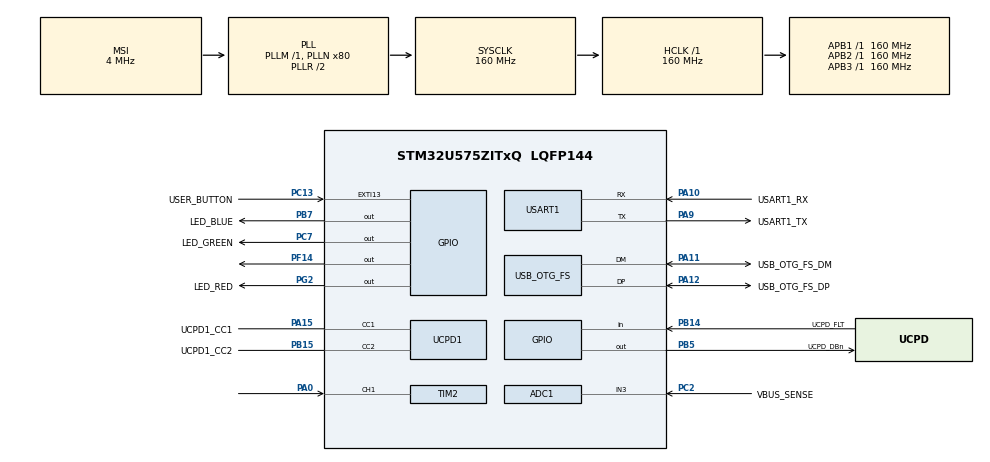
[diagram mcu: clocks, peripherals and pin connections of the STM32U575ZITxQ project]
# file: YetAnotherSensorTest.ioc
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ADC1.NbrOfConversion=1
ADC1.Resolution=ADC_RESOLUTION_14B
ADC1.master=1
CORTEX_M33_NS.userName=CORTEX_M33
Mcu.Family=STM32U5
Mcu.Name=STM32U575ZITxQ
Mcu.Package=LQFP144
NVIC.OTG_FS_IRQn=true\:0\:0\:false\:false\:true\:true\:true\:true
NVIC.PriorityGroup=NVIC_PRIORITYGROUP_3
PA0.Signal=S_TIM2_CH1
PA10.GPIO_Label=USART1_RX
PA10.GPIO_PuPd=GPIO_PULLDOWN
PA10.GPIO_Speed=GPIO_SPEED_FREQ_VERY_HIGH
PA10.Mode=Asynchronous
PA10.Signal=USART1_RX
PA11.GPIO_Label=USB_OTG_FS_DM
PA11.GPIO_Speed=GPIO_SPEED_FREQ_VERY_HIGH
PA11.Mode=Device_Only
PA11.Signal=USB_OTG_FS_DM
PA12.GPIO_Label=USB_OTG_FS_DP
PA12.GPIO_Speed=GPIO_SPEED_FREQ_VERY_HIGH
PA12.Mode=Device_Only
PA12.Signal=USB_OTG_FS_DP
PA13\ (JTMS/SWDIO).Mode=Trace_Asynchronous_SW
PA13\ (JTMS/SWDIO).Signal=DEBUG_JTMS-SWDIO
PA14\ (JTCK/SWCLK).Mode=Trace_Asynchronous_SW
PA14\ (JTCK/SWCLK).Signal=DEBUG_JTCK-SWCLK
PA15\ (JTDI).GPIO_Label=UCPD1_CC1
PA15\ (JTDI).Mode=Sink_AllSignals
PA15\ (JTDI).Signal=UCPD1_CC1
PA9.GPIO_Label=USART1_TX
PA9.GPIO_PuPd=GPIO_PULLDOWN
PA9.GPIO_Speed=GPIO_SPEED_FREQ_VERY_HIGH
PA9.Mode=Asynchronous
PA9.Signal=USART1_TX
PB14.GPIO_Label=UCPD_FLT
PB14.Signal=GPIO_Input
PB15.GPIO_Label=UCPD1_CC2
PB15.Mode=Sink_AllSignals
PB15.Signal=UCPD1_CC2
PB3\ (JTDO/TRACESWO).Mode=Trace_Asynchronous_SW
PB3\ (JTDO/TRACESWO).Signal=DEBUG_JTDO-SWO
PB5.GPIO_Label=UCPD_DBn
PB5.Signal=GPIO_Output
PB7.GPIO_Label=LED_BLUE
PB7.GPIO_ModeDefaultOutputPP=GPIO_MODE_OUTPUT_PP
PB7.GPIO_PuPd=GPIO_PULLUP
PB7.GPIO_Speed=GPIO_SPEED_FREQ_HIGH
PB7.Signal=GPIO_Output
PC13.GPIO_Label=USER_BUTTON
PC13.GPIO_ModeDefaultEXTI=GPIO_MODE_IT_FALLING
PC13.Signal=GPXTI13
PC14-OSC32_IN\ (PC14).Mode=LSE-External-Oscillator
PC14-OSC32_IN\ (PC14).Signal=RCC_OSC32_IN
PC15-OSC32_OUT\ (PC15).Mode=LSE-External-Oscillator
PC15-OSC32_OUT\ (PC15).Signal=RCC_OSC32_OUT
PC2.GPIO_Label=VBUS_SENSE
PC2.Mode=IN3-Single-Ended
PC2.Signal=ADC1_IN3
PC7.GPIO_Label=LED_GREEN
PC7.GPIO_PuPd=GPIO_PULLUP
PC7.GPIO_Speed=GPIO_SPEED_FREQ_HIGH
PC7.Signal=GPIO_Output
PF14.Signal=GPIO_Output
PG2.GPIO_Label=LED_RED
PG2.GPIO_ModeDefaultOutputPP=GPIO_MODE_OUTPUT_PP
PG2.GPIO_PuPd=GPIO_PULLUP
PG2.GPIO_Speed=GPIO_SPEED_FREQ_HIGH
PG2.Signal=GPIO_Output
PWR.PowerMode=PWR_SMPS_SUPPLY
ProjectManager.HeapSize=0x200
ProjectManager.StackSize=0x400
ProjectManager.TargetToolchain=STM32CubeIDE
RCC.ADCFreq_Value=16000000
RCC.AHBFreq_Value=160000000
RCC.APB1Freq_Value=160000000
RCC.APB1TimFreq_Value=160000000
RCC.APB2Freq_Value=160000000
RCC.APB2TimFreq_Value=160000000
RCC.APB3Freq_Value=160000000
RCC.CortexFreq_Value=160000000
RCC.DACCLockSelectionVirtual=RCC_DAC1CLKSOURCE_LSI
RCC.EPOD_VALUE=4000000
RCC.HCLKFreq_Value=160000000
RCC.HSE_VALUE=16000000
RCC.HSI48_VALUE=48000000
RCC.HSI_VALUE=16000000
RCC.LSIDIV_VALUE=32000
RCC.MSI_VALUE=4000000
RCC.PLLN=80
RCC.SYSCLKFreq_VALUE=160000000
RCC.SYSCLKSource=RCC_SYSCLKSOURCE_PLLCLK
RCC.USBFreq_Value=48000000
RCC.VCOOutputFreq_Value=320000000
SH.S_TIM2_CH1.0=TIM2_CH1,Input_Capture1_from_TI1
TIM2.Channel-Input_Capture1_from_TI1=TIM_CHANNEL_1
TIM2.Prescaler=1
USART1.VirtualMode-Asynchronous=VM_ASYNC
USB_OTG_FS.VirtualMode=Device_Only
VP_ICACHE_VS_ENABLE_ICACHE_MEMORY.Mode=Memoryregions
VP_ICACHE_VS_ICACHE.Mode=DirectMappedCache
VP_LPBAMQUEUE_VS_QUEUE.Mode=QUEUEMODE
VP_LPBAM_VS_SIG1.Mode=SmartRun
VP_LPBAM_VS_SIG4.Mode=LPDMA1
VP_MEMORYMAP_VS_MEMORYMAP.Mode=CurAppReg
VP_PWR_VS_DBSignals.Mode=DisableDeadBatterySignals
VP_PWR_VS_LPOM.Mode=PowerOptimisation
VP_PWR_VS_SECSignals.Mode=Security/Privilege
VP_PWR_Vdda.Mode=isolationVdda
VP_TIM2_VS_ClockSourceINT.Mode=Internal
board=NUCLEO-U575ZI-Q

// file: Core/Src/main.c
/* USER CODE BEGIN Header */
/**
  ******************************************************************************
  * @file           : main.c
  * @brief          : Main program body
  ******************************************************************************
  * @attention
  *
  * Copyright (c) 2024 STMicroelectronics.
  * All rights reserved.
  *
  * This software is licensed under terms that can be found in the LICENSE file
  * in the root directory of this software component.
  * If no LICENSE file comes with this software, it is provided AS-IS.
  *
  ******************************************************************************
  */
/* USER CODE END Header */
#include "main.h"

ADC_HandleTypeDef hadc1;

TIM_HandleTypeDef htim2;

UART_HandleTypeDef huart1;

PCD_HandleTypeDef hpcd_USB_OTG_FS;

void SystemClock_Config(void);
static void SystemPower_Config(void);
static void MX_GPIO_Init(void);
static void MX_ADC1_Init(void);
static void MX_ICACHE_Init(void);
static void MX_UCPD1_Init(void);
static void MX_USART1_UART_Init(void);
static void MX_USB_OTG_FS_PCD_Init(void);
static void MX_TIM2_Init(void);
/* USER CODE BEGIN PFP */
void DHT11_SetPinOutput(void);
void DHT11_SetPinInput(void);
void DHT11_InitTimer(void);
void DHT11_DelayUs(uint16_t us);
void DHT11_StartSignal(void);
uint8_t DHT11_ReadData(void);
void DHT11_Read(uint8_t* humidity, uint8_t* temperature);

/* Retargets the C library printf function to the USART. */
#include <stdio.h>
#ifdef __GNUC__
int __io_putchar(int ch)
#else
int fputc(int ch, FILE *f)
#endif
{
    HAL_UART_Transmit(&huart1, (uint8_t *)&ch, 1, 0xFFFF);

    return ch;
}
#ifdef __GNUC__
int _write(int file,char *ptr, int len)
{
    int DataIdx;
    for (DataIdx= 0; DataIdx< len; DataIdx++) {
        __io_putchar(*ptr++);
    }
    return len;
}
#endif
/* USER CODE END PFP */

/* USER CODE BEGIN 0 */
#define DHT11_PIN GPIO_PIN_14
#define DHT11_PORT GPIOF

// Imposta PB6 come uscita
void DHT11_SetPinOutput(void) {
    GPIO_InitTypeDef GPIO_InitStruct = {0};
    GPIO_InitStruct.Pin = DHT11_PIN;
    GPIO_InitStruct.Mode = GPIO_MODE_OUTPUT_PP;
    GPIO_InitStruct.Pull = GPIO_NOPULL;
    GPIO_InitStruct.Speed = GPIO_SPEED_FREQ_LOW;
    HAL_GPIO_Init(DHT11_PORT, &GPIO_InitStruct);
}

// Imposta PB6 come ingresso
void DHT11_SetPinInput(void) {
    GPIO_InitTypeDef GPIO_InitStruct = {0};
    GPIO_InitStruct.Pin = DHT11_PIN;
    GPIO_InitStruct.Mode = GPIO_MODE_INPUT;
    GPIO_InitStruct.Pull = GPIO_NOPULL;
    HAL_GPIO_Init(DHT11_PORT, &GPIO_InitStruct);
}

// Inizializzazione del timer per il delay in microsecondi
void DHT11_InitTimer(void) {
    __HAL_RCC_TIM2_CLK_ENABLE();

    TIM_HandleTypeDef htim2;
    htim2.Instance = TIM2;
    htim2.Init.Prescaler = (SystemCoreClock / 1000000) - 1; // Timer a 1 MHz -> 1µs
    htim2.Init.CounterMode = TIM_COUNTERMODE_UP;
    htim2.Init.Period = 0xFFFFFFFF; // Periodo massimo per usare il timer come contatore
    htim2.Init.ClockDivision = TIM_CLOCKDIVISION_DIV1;
    HAL_TIM_Base_Init(&htim2);

    HAL_TIM_Base_Start(&htim2);
}

// Delay in microsecondi usando TIM2
void DHT11_DelayUs(uint16_t us) {
    __HAL_TIM_SET_COUNTER(&htim2, 0); // Azzerare il contatore
    while (__HAL_TIM_GET_COUNTER(&htim2) < us); // Attendere che il contatore raggiunga il valore richiesto
}

void DHT11_StartSignal(void) {
    DHT11_SetPinOutput(); // Imposta il pin come uscita
    HAL_GPIO_WritePin(DHT11_PORT, DHT11_PIN, GPIO_PIN_RESET); // Tira il pin a basso
    DHT11_DelayUs(18000); // Mantieni basso per almeno 18 ms
    HAL_GPIO_WritePin(DHT11_PORT, DHT11_PIN, GPIO_PIN_SET); // Rilascia il pin
    DHT11_DelayUs(20); // Attendere 20-40µs
    DHT11_SetPinInput(); // Imposta il pin come input per leggere la risposta del sensore
}

/*------------------------------- READ DATA FUNCTIONS --------------------------------*/
uint8_t DHT11_ReadData(void) {
    uint8_t data = 0;
    for (int i = 0; i < 8; i++) {
        // Aspetta che il segnale diventi alto (inizio del bit)
        while (HAL_GPIO_ReadPin(DHT11_PORT, DHT11_PIN) == GPIO_PIN_RESET);
        DHT11_DelayUs(40); // Aspetta 40µs per capire se è 0 o 1
        if (HAL_GPIO_ReadPin(DHT11_PORT, DHT11_PIN) == GPIO_PIN_SET) {
            data |= (1 << (7 - i)); // Se il segnale è ancora alto dopo 40µs, è un 1
        }
        // Aspetta che il segnale diventi basso prima di passare al prossimo bit
        while (HAL_GPIO_ReadPin(DHT11_PORT, DHT11_PIN) == GPIO_PIN_SET);
    }
    return data;
}

void DHT11_Read(uint8_t* humidity, uint8_t* temperature) {
    uint8_t hum_int, hum_dec, temp_int, temp_dec, checksum;

    DHT11_StartSignal(); // Invia il segnale di start

    // Lettura dei dati
    hum_int = DHT11_ReadData();
    hum_dec = DHT11_ReadData();
    temp_int = DHT11_ReadData();
    temp_dec = DHT11_ReadData();
    checksum = DHT11_ReadData();

    // Controlla il checksum
    if (checksum == (hum_int + hum_dec + temp_int + temp_dec)) {
        *humidity = hum_int;
        *temperature = temp_int;
    } else {
        // Errore di checksum
        *humidity = 0;
        *temperature = 0;
    }
}
/* USER CODE END 0 */

int main(void)
{

  /* USER CODE BEGIN 1 */
	/* Turn off buffers, so I/O occurs immediately */
	    setvbuf(stdin, NULL, _IONBF, 0);
	    setvbuf(stdout, NULL, _IONBF, 0);
	    setvbuf(stderr, NULL, _IONBF, 0);
  /* USER CODE END 1 */

  /* MCU Configuration--------------------------------------------------------*/

  /* Reset of all peripherals, Initializes the Flash interface and the Systick. */
  HAL_Init();

  /* Configure the system clock */
  SystemClock_Config();

  /* Configure the System Power */
  SystemPower_Config();

  /* Initialize all configured peripherals */
  MX_GPIO_Init();
  MX_ADC1_Init();
  MX_ICACHE_Init();
  MX_UCPD1_Init();
  MX_USART1_UART_Init();
  MX_USB_OTG_FS_PCD_Init();
  MX_TIM2_Init();

  /* Infinite loop */
  while (1)
  {

    /* USER CODE BEGIN 3 */
	  printf("Welcome!\r\n");
	  uint8_t humidity = 0;
	  uint8_t temperature = 0;

	  DHT11_InitTimer(); // Inizializza il timer
	  DHT11_Read(&humidity, &temperature); // Leggi i dati dal sensore

	  printf("Umidità: %d%%\r\n", humidity);
	  printf("Temperatura: %d°C\r\n", temperature);
  }
  /* USER CODE END 3 */
}

void SystemClock_Config(void)
{
  RCC_OscInitTypeDef RCC_OscInitStruct = {0};
  RCC_ClkInitTypeDef RCC_ClkInitStruct = {0};

  /** Configure the main internal regulator output voltage
  */
  if (HAL_PWREx_ControlVoltageScaling(PWR_REGULATOR_VOLTAGE_SCALE1) != HAL_OK)
  {
    Error_Handler();
  }

  /** Initializes the CPU, AHB and APB buses clocks
  */
  RCC_OscInitStruct.OscillatorType = RCC_OSCILLATORTYPE_HSI48|RCC_OSCILLATORTYPE_HSI
                              |RCC_OSCILLATORTYPE_MSI;
  RCC_OscInitStruct.HSIState = RCC_HSI_ON;
  RCC_OscInitStruct.HSI48State = RCC_HSI48_ON;
  RCC_OscInitStruct.HSICalibrationValue = RCC_HSICALIBRATION_DEFAULT;
  RCC_OscInitStruct.MSIState = RCC_MSI_ON;
  RCC_OscInitStruct.MSICalibrationValue = RCC_MSICALIBRATION_DEFAULT;
  RCC_OscInitStruct.MSIClockRange = RCC_MSIRANGE_4;
  RCC_OscInitStruct.PLL.PLLState = RCC_PLL_ON;
  RCC_OscInitStruct.PLL.PLLSource = RCC_PLLSOURCE_MSI;
  RCC_OscInitStruct.PLL.PLLMBOOST = RCC_PLLMBOOST_DIV1;
  RCC_OscInitStruct.PLL.PLLM = 1;
  RCC_OscInitStruct.PLL.PLLN = 80;
  RCC_OscInitStruct.PLL.PLLP = 2;
  RCC_OscInitStruct.PLL.PLLQ = 2;
  RCC_OscInitStruct.PLL.PLLR = 2;
  RCC_OscInitStruct.PLL.PLLRGE = RCC_PLLVCIRANGE_0;
  RCC_OscInitStruct.PLL.PLLFRACN = 0;
  if (HAL_RCC_OscConfig(&RCC_OscInitStruct) != HAL_OK)
  {
    Error_Handler();
  }

  /** Initializes the CPU, AHB and APB buses clocks
  */
  RCC_ClkInitStruct.ClockType = RCC_CLOCKTYPE_HCLK|RCC_CLOCKTYPE_SYSCLK
                              |RCC_CLOCKTYPE_PCLK1|RCC_CLOCKTYPE_PCLK2
                              |RCC_CLOCKTYPE_PCLK3;
  RCC_ClkInitStruct.SYSCLKSource = RCC_SYSCLKSOURCE_PLLCLK;
  RCC_ClkInitStruct.AHBCLKDivider = RCC_SYSCLK_DIV1;
  RCC_ClkInitStruct.APB1CLKDivider = RCC_HCLK_DIV1;
  RCC_ClkInitStruct.APB2CLKDivider = RCC_HCLK_DIV1;
  RCC_ClkInitStruct.APB3CLKDivider = RCC_HCLK_DIV1;

  if (HAL_RCC_ClockConfig(&RCC_ClkInitStruct, FLASH_LATENCY_4) != HAL_OK)
  {
    Error_Handler();
  }
}

/**
  * @brief Power Configuration
  * @retval None
  */
static void SystemPower_Config(void)
{
  HAL_PWREx_EnableVddIO2();

  /*
   * Switch to SMPS regulator instead of LDO
   */
  if (HAL_PWREx_ConfigSupply(PWR_SMPS_SUPPLY) != HAL_OK)
  {
    Error_Handler();
  }
}

static void MX_ADC1_Init(void)
{

  /** Common config
  */
  hadc1.Instance = ADC1;
  hadc1.Init.ClockPrescaler = ADC_CLOCK_ASYNC_DIV1;
  hadc1.Init.Resolution = ADC_RESOLUTION_14B;
  hadc1.Init.GainCompensation = 0;
  hadc1.Init.ScanConvMode = ADC_SCAN_DISABLE;
  hadc1.Init.EOCSelection = ADC_EOC_SINGLE_CONV;
  hadc1.Init.LowPowerAutoWait = DISABLE;
  hadc1.Init.ContinuousConvMode = DISABLE;
  hadc1.Init.NbrOfConversion = 1;
  hadc1.Init.DiscontinuousConvMode = DISABLE;
  hadc1.Init.DMAContinuousRequests = DISABLE;
  hadc1.Init.TriggerFrequencyMode = ADC_TRIGGER_FREQ_HIGH;
  hadc1.Init.Overrun = ADC_OVR_DATA_PRESERVED;
  hadc1.Init.LeftBitShift = ADC_LEFTBITSHIFT_NONE;
  hadc1.Init.ConversionDataManagement = ADC_CONVERSIONDATA_DR;
  hadc1.Init.OversamplingMode = DISABLE;
  if (HAL_ADC_Init(&hadc1) != HAL_OK)
  {
    Error_Handler();
  }

}

static void MX_ICACHE_Init(void)
{

  /** Enable instruction cache in 1-way (direct mapped cache)
  */
  if (HAL_ICACHE_ConfigAssociativityMode(ICACHE_1WAY) != HAL_OK)
  {
    Error_Handler();
  }
  if (HAL_ICACHE_Enable() != HAL_OK)
  {
    Error_Handler();
  }

}

static void MX_TIM2_Init(void)
{

  TIM_ClockConfigTypeDef sClockSourceConfig = {0};
  TIM_MasterConfigTypeDef sMasterConfig = {0};
  TIM_IC_InitTypeDef sConfigIC = {0};

  htim2.Instance = TIM2;
  htim2.Init.Prescaler = 1;
  htim2.Init.CounterMode = TIM_COUNTERMODE_UP;
  htim2.Init.Period = 4294967295;
  htim2.Init.ClockDivision = TIM_CLOCKDIVISION_DIV1;
  htim2.Init.AutoReloadPreload = TIM_AUTORELOAD_PRELOAD_DISABLE;
  if (HAL_TIM_Base_Init(&htim2) != HAL_OK)
  {
    Error_Handler();
  }
  sClockSourceConfig.ClockSource = TIM_CLOCKSOURCE_INTERNAL;
  if (HAL_TIM_ConfigClockSource(&htim2, &sClockSourceConfig) != HAL_OK)
  {
    Error_Handler();
  }
  if (HAL_TIM_IC_Init(&htim2) != HAL_OK)
  {
    Error_Handler();
  }
  sMasterConfig.MasterOutputTrigger = TIM_TRGO_RESET;
  sMasterConfig.MasterSlaveMode = TIM_MASTERSLAVEMODE_DISABLE;
  if (HAL_TIMEx_MasterConfigSynchronization(&htim2, &sMasterConfig) != HAL_OK)
  {
    Error_Handler();
  }
  sConfigIC.ICPolarity = TIM_INPUTCHANNELPOLARITY_RISING;
  sConfigIC.ICSelection = TIM_ICSELECTION_DIRECTTI;
  sConfigIC.ICPrescaler = TIM_ICPSC_DIV1;
  sConfigIC.ICFilter = 0;
  if (HAL_TIM_IC_ConfigChannel(&htim2, &sConfigIC, TIM_CHANNEL_1) != HAL_OK)
  {
    Error_Handler();
  }

}

static void MX_UCPD1_Init(void)
{

  LL_GPIO_InitTypeDef GPIO_InitStruct = {0};

  /* Peripheral clock enable */
  LL_APB1_GRP2_EnableClock(LL_APB1_GRP2_PERIPH_UCPD1);

  LL_AHB2_GRP1_EnableClock(LL_AHB2_GRP1_PERIPH_GPIOB);
  LL_AHB2_GRP1_EnableClock(LL_AHB2_GRP1_PERIPH_GPIOA);
  /**UCPD1 GPIO Configuration
  PB15   ------> UCPD1_CC2
  PA15 (JTDI)   ------> UCPD1_CC1
  */
  GPIO_InitStruct.Pin = LL_GPIO_PIN_15;
  GPIO_InitStruct.Mode = LL_GPIO_MODE_ANALOG;
  GPIO_InitStruct.Pull = LL_GPIO_PULL_NO;
  LL_GPIO_Init(GPIOB, &GPIO_InitStruct);

  GPIO_InitStruct.Pin = LL_GPIO_PIN_15;
  GPIO_InitStruct.Mode = LL_GPIO_MODE_ANALOG;
  GPIO_InitStruct.Pull = LL_GPIO_PULL_NO;
  LL_GPIO_Init(GPIOA, &GPIO_InitStruct);

}

static void MX_USART1_UART_Init(void)
{

  huart1.Instance = USART1;
  huart1.Init.BaudRate = 115200;
  huart1.Init.WordLength = UART_WORDLENGTH_8B;
  huart1.Init.StopBits = UART_STOPBITS_1;
  huart1.Init.Parity = UART_PARITY_NONE;
  huart1.Init.Mode = UART_MODE_TX_RX;
  huart1.Init.HwFlowCtl = UART_HWCONTROL_NONE;
  huart1.Init.OverSampling = UART_OVERSAMPLING_16;
  huart1.Init.OneBitSampling = UART_ONE_BIT_SAMPLE_DISABLE;
  huart1.Init.ClockPrescaler = UART_PRESCALER_DIV1;
  huart1.AdvancedInit.AdvFeatureInit = UART_ADVFEATURE_NO_INIT;
  if (HAL_UART_Init(&huart1) != HAL_OK)
  {
    Error_Handler();
  }
  if (HAL_UARTEx_SetTxFifoThreshold(&huart1, UART_TXFIFO_THRESHOLD_1_8) != HAL_OK)
  {
    Error_Handler();
  }
  if (HAL_UARTEx_SetRxFifoThreshold(&huart1, UART_RXFIFO_THRESHOLD_1_8) != HAL_OK)
  {
    Error_Handler();
  }
  if (HAL_UARTEx_DisableFifoMode(&huart1) != HAL_OK)
  {
    Error_Handler();
  }

}

static void MX_USB_OTG_FS_PCD_Init(void)
{

  hpcd_USB_OTG_FS.Instance = USB_OTG_FS;
  hpcd_USB_OTG_FS.Init.dev_endpoints = 6;
  hpcd_USB_OTG_FS.Init.speed = PCD_SPEED_FULL;
  hpcd_USB_OTG_FS.Init.phy_itface = PCD_PHY_EMBEDDED;
  hpcd_USB_OTG_FS.Init.Sof_enable = DISABLE;
  hpcd_USB_OTG_FS.Init.low_power_enable = DISABLE;
  hpcd_USB_OTG_FS.Init.lpm_enable = DISABLE;
  hpcd_USB_OTG_FS.Init.battery_charging_enable = DISABLE;
  hpcd_USB_OTG_FS.Init.use_dedicated_ep1 = DISABLE;
  hpcd_USB_OTG_FS.Init.vbus_sensing_enable = DISABLE;
  hpcd_USB_OTG_FS.Init.dma_enable = DISABLE;
  if (HAL_PCD_Init(&hpcd_USB_OTG_FS) != HAL_OK)
  {
    Error_Handler();
  }

}

static void MX_GPIO_Init(void)
{
  GPIO_InitTypeDef GPIO_InitStruct = {0};

  /* GPIO Ports Clock Enable */
  __HAL_RCC_GPIOC_CLK_ENABLE();
  __HAL_RCC_GPIOA_CLK_ENABLE();
  __HAL_RCC_GPIOF_CLK_ENABLE();
  __HAL_RCC_GPIOB_CLK_ENABLE();
  __HAL_RCC_GPIOG_CLK_ENABLE();

  /*Configure GPIO pin Output Level */
  HAL_GPIO_WritePin(GPIOF, GPIO_PIN_14, GPIO_PIN_RESET);

  /*Configure GPIO pin Output Level */
  HAL_GPIO_WritePin(LED_RED_GPIO_Port, LED_RED_Pin, GPIO_PIN_RESET);

  /*Configure GPIO pin Output Level */
  HAL_GPIO_WritePin(LED_GREEN_GPIO_Port, LED_GREEN_Pin, GPIO_PIN_RESET);

  /*Configure GPIO pin Output Level */
  HAL_GPIO_WritePin(GPIOB, UCPD_DBn_Pin|LED_BLUE_Pin, GPIO_PIN_RESET);

  /*Configure GPIO pin : USER_BUTTON_Pin */
  GPIO_InitStruct.Pin = USER_BUTTON_Pin;
  GPIO_InitStruct.Mode = GPIO_MODE_IT_FALLING;
  GPIO_InitStruct.Pull = GPIO_NOPULL;
  HAL_GPIO_Init(USER_BUTTON_GPIO_Port, &GPIO_InitStruct);

  /*Configure GPIO pin : PF14 */
  GPIO_InitStruct.Pin = GPIO_PIN_14;
  GPIO_InitStruct.Mode = GPIO_MODE_OUTPUT_PP;
  GPIO_InitStruct.Pull = GPIO_NOPULL;
  GPIO_InitStruct.Speed = GPIO_SPEED_FREQ_LOW;
  HAL_GPIO_Init(GPIOF, &GPIO_InitStruct);

  /*Configure GPIO pin : UCPD_FLT_Pin */
  GPIO_InitStruct.Pin = UCPD_FLT_Pin;
  GPIO_InitStruct.Mode = GPIO_MODE_INPUT;
  GPIO_InitStruct.Pull = GPIO_NOPULL;
  HAL_GPIO_Init(UCPD_FLT_GPIO_Port, &GPIO_InitStruct);

  /*Configure GPIO pin : LED_RED_Pin */
  GPIO_InitStruct.Pin = LED_RED_Pin;
  GPIO_InitStruct.Mode = GPIO_MODE_OUTPUT_PP;
  GPIO_InitStruct.Pull = GPIO_PULLUP;
  GPIO_InitStruct.Speed = GPIO_SPEED_FREQ_HIGH;
  HAL_GPIO_Init(LED_RED_GPIO_Port, &GPIO_InitStruct);

  /*Configure GPIO pin : LED_GREEN_Pin */
  GPIO_InitStruct.Pin = LED_GREEN_Pin;
  GPIO_InitStruct.Mode = GPIO_MODE_OUTPUT_PP;
  GPIO_InitStruct.Pull = GPIO_PULLUP;
  GPIO_InitStruct.Speed = GPIO_SPEED_FREQ_HIGH;
  HAL_GPIO_Init(LED_GREEN_GPIO_Port, &GPIO_InitStruct);

  /*Configure GPIO pin : UCPD_DBn_Pin */
  GPIO_InitStruct.Pin = UCPD_DBn_Pin;
  GPIO_InitStruct.Mode = GPIO_MODE_OUTPUT_PP;
  GPIO_InitStruct.Pull = GPIO_NOPULL;
  GPIO_InitStruct.Speed = GPIO_SPEED_FREQ_LOW;
  HAL_GPIO_Init(UCPD_DBn_GPIO_Port, &GPIO_InitStruct);

  /*Configure GPIO pin : LED_BLUE_Pin */
  GPIO_InitStruct.Pin = LED_BLUE_Pin;
  GPIO_InitStruct.Mode = GPIO_MODE_OUTPUT_PP;
  GPIO_InitStruct.Pull = GPIO_PULLUP;
  GPIO_InitStruct.Speed = GPIO_SPEED_FREQ_HIGH;
  HAL_GPIO_Init(LED_BLUE_GPIO_Port, &GPIO_InitStruct);

}

void Error_Handler(void)
{
  __disable_irq();
  while (1)
  {
  }
}
